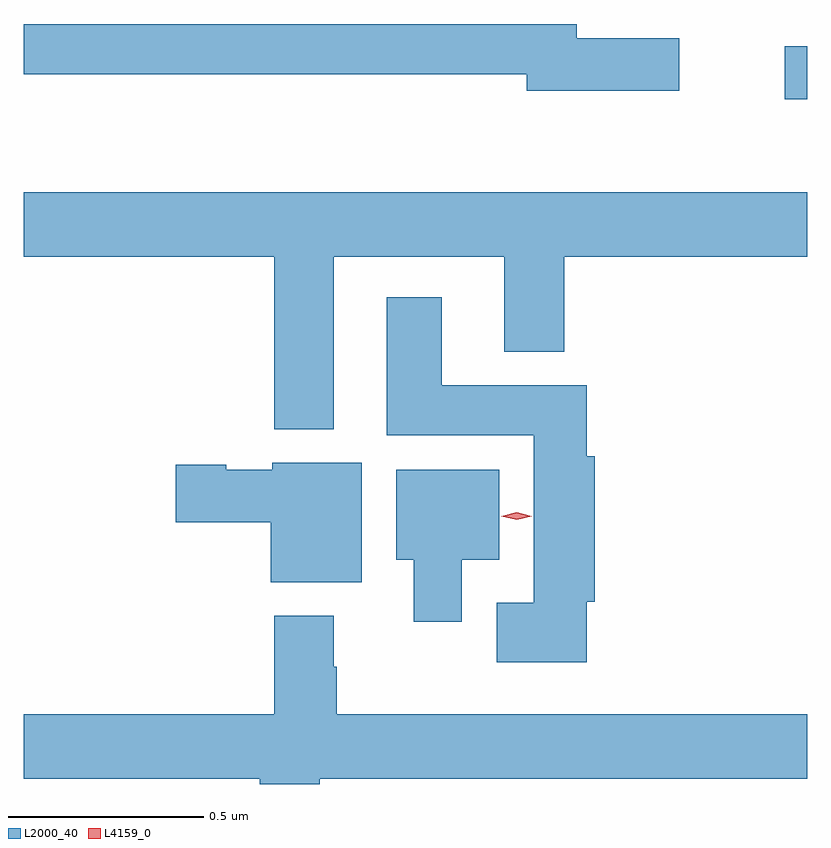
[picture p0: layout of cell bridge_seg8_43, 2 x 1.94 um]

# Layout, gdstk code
import gdstk
lib = gdstk.Library(unit=1e-6, precision=1e-09)
def R(c, l, rs):  # rectangles x0, y0, x1, y1
    for r in rs: c.add(gdstk.rectangle(r[:2], r[2:], *l))
def P(c, l, *ps):  # polygons
    for p in ps: c.add(gdstk.Polygon(p, *l))
L2000_40 = (2000, 40)
L4159_0 = (4159, 0)

bridge_seg8_43 = lib.new_cell('bridge_seg8_43')
R(bridge_seg8_43, L2000_40, [(870.408,1108.91,870.466,1109.045)])
P(bridge_seg8_43, L2000_40, [(870.139,1109.066),(869.878,1109.066),(869.878,1109.102),(868.466,1109.102),(868.466,1108.974),(869.75,1108.974),(869.75,1108.931),(870.139,1108.931)],
  [(869.257,1108.508),(869.693,1108.508),(869.693,1108.265),(869.846,1108.265),(869.846,1108.508),(870.466,1108.508),(870.466,1108.672),(868.466,1108.672),(868.466,1108.508),(869.105,1108.508),(869.105,1108.067),(869.257,1108.067)],
  [(869.903,1107.627),(869.924,1107.627),(869.924,1107.999),(869.903,1107.999),(869.903,1108.18),(869.533,1108.18),(869.533,1108.405),(869.393,1108.405),(869.393,1108.052),(869.768,1108.052),(869.768,1107.625),(869.673,1107.625),(869.673,1107.473),(869.903,1107.473)],
  [(869.329,1107.982),(869.1,1107.982),(869.1,1107.964),(868.983,1107.964),(868.983,1107.977),(868.854,1107.977),(868.854,1107.83),(869.096,1107.83),(869.096,1107.677),(869.329,1107.677)],
  [(869.584,1107.734),(869.68,1107.734),(869.68,1107.964),(869.417,1107.964),(869.417,1107.734),(869.462,1107.734),(869.462,1107.576),(869.584,1107.576)],
  [(869.222,1107.176),(870.466,1107.176),(870.466,1107.34),(869.265,1107.34),(869.265,1107.461),(869.257,1107.461),(869.257,1107.592),(869.105,1107.592),(869.105,1107.34),(868.466,1107.34),(868.466,1107.176),(869.069,1107.176),(869.069,1107.162),(869.222,1107.162)])
P(bridge_seg8_43, L4159_0, [(869.724,1107.836),(869.685,1107.846),(869.685,1107.846),(869.685,1107.846),(869.724,1107.856),(869.763,1107.846),(869.763,1107.846),(869.763,1107.846)])

lib.write_gds('bridge_seg8_43.gds')
